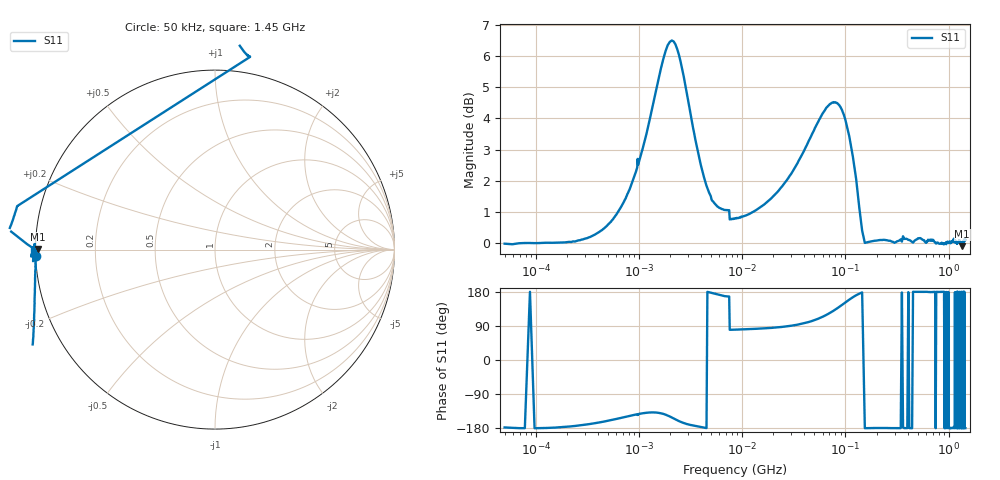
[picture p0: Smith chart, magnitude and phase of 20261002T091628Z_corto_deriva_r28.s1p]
! piloto_deriva / corto_deriva / r28
# HZ S RI R 50
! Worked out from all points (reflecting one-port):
!   501 points, 50 kHz to 1.45 GHz, reference 50 ohm
!   lowest |S11| = -0.1 dB at 1.351 GHz (marker M1), VSWR 161.43, Z = 0.31 + j0.0984 ohm
!   phase of S11 starts at -178 deg and turns -2 deg over the sweep
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50000  -0.9962 -0.0352
183000  -0.9997 -0.0521
354000  -1.003 -0.2148
658000  -1.014 -0.5109
1180000  -1.133 -0.9753
1630000  -1.473 -1.209
1990000  -1.805 -1.081
2170000  -1.899 -0.9137
2440000  -1.899 -0.6431
3070000  -1.634 -0.2703
4330000  -1.263 -0.0307
7300000  -1.102 0.2423
7750000  0.1943 1.074
8560000  0.1877 1.078
1.99e7  0.1014 1.183
3.16e7  -0.035 1.313
4.69e7  -0.3224 1.454
6.76e7  -0.8593 1.42
8.02e7  -1.157 1.219
9.46e7  -1.362 0.8768
9.82e7  -1.383 0.785
1e8  -1.391 0.7374
1.18e8  -1.332 0.3403
1.36e8  -1.136 0.1002
1.63e8  -1.002 -0.00431
4.06e8  -1.011 0.0146
1.351e9  -0.9877 0.00389
1.45e9  -1.011 -0.00512
